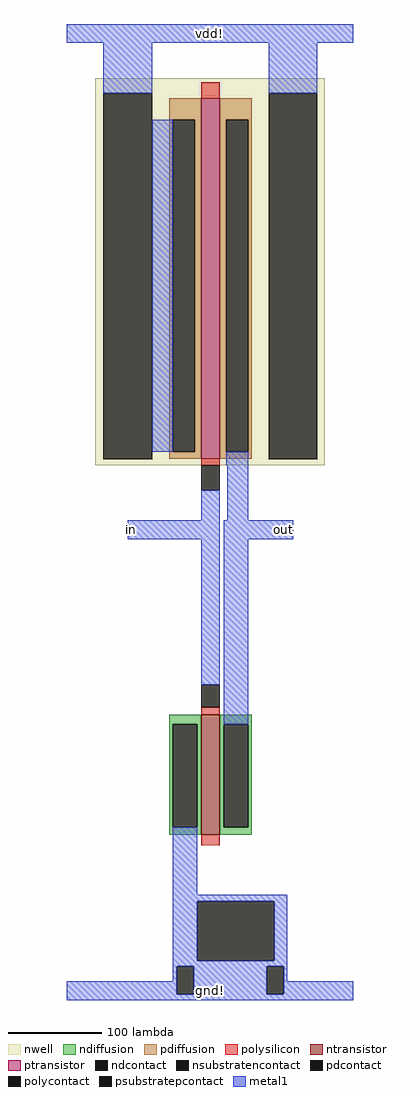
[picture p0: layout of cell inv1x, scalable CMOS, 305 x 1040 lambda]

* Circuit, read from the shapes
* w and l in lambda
.subckt inv1x gnd! in out vdd!
M1 out in gnd! gnd! nfet w=128 l=20
M2 out in vdd! vdd! pfet w=384 l=20
.ends

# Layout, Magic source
magic
tech scmos
<< nwell >>
rect -127 106 118 518
<< polysilicon >>
rect -14 497 6 514
rect -14 106 6 113
rect -14 -160 6 -152
rect -14 -299 6 -288
<< ndiffusion >>
rect -48 -170 -14 -160
rect -48 -280 -44 -170
rect -18 -280 -14 -170
rect -48 -288 -14 -280
rect 6 -170 40 -160
rect 6 -280 10 -170
rect 36 -280 40 -170
rect 6 -288 40 -280
<< pdiffusion >>
rect -48 474 -14 497
rect -48 120 -44 474
rect -21 120 -14 474
rect -48 113 -14 120
rect 6 474 40 497
rect 6 120 13 474
rect 36 120 40 474
rect 6 113 40 120
<< metal1 >>
rect -157 556 148 576
rect -118 502 -66 556
rect 58 502 110 556
rect -66 120 -44 474
rect 13 106 36 120
rect -14 47 6 79
rect 14 47 36 106
rect -92 27 6 47
rect -14 -128 6 27
rect 10 27 84 47
rect 10 -170 36 27
rect -44 -352 -18 -280
rect -44 -359 78 -352
rect -44 -422 -18 -359
rect 64 -422 78 -359
rect -44 -428 78 -422
rect -44 -444 -40 -428
rect -157 -458 -40 -444
rect -22 -458 56 -428
rect 74 -444 78 -428
rect 74 -458 148 -444
rect -157 -464 148 -458
<< ntransistor >>
rect -14 -288 6 -160
<< ptransistor >>
rect -14 113 6 497
<< polycontact >>
rect -14 79 6 106
rect -14 -152 6 -128
<< ndcontact >>
rect -44 -280 -18 -170
rect 10 -280 36 -170
<< pdcontact >>
rect -44 120 -21 474
rect 13 120 36 474
<< psubstratepcontact >>
rect -18 -422 64 -359
rect -40 -458 -22 -428
rect 56 -458 74 -428
<< nsubstratencontact >>
rect -118 112 -66 502
rect 58 112 110 502
<< labels >>
rlabel metal1 74 37 74 37 1 out
rlabel metal1 -88 37 -88 37 1 in
rlabel metal1 -5 566 -5 566 1 vdd!
rlabel metal1 -4 -454 -4 -454 1 gnd!
<< end >>
